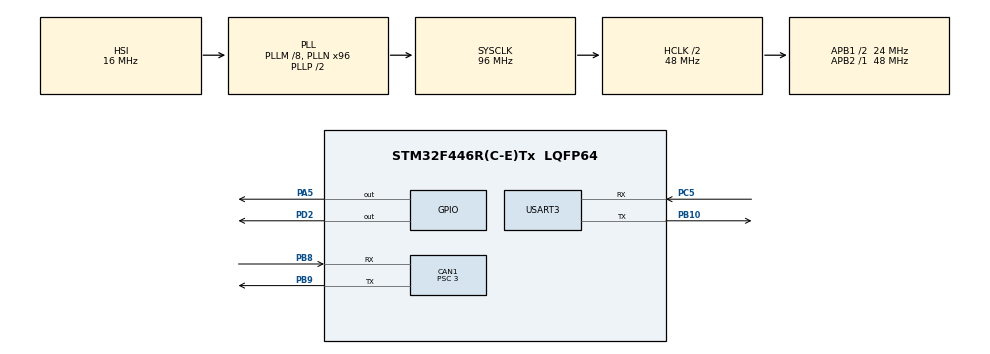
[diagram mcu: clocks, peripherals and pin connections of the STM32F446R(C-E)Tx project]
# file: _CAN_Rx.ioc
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CAN1.ABOM=ENABLE
CAN1.AWUM=ENABLE
CAN1.BS1=CAN_BS1_13TQ
CAN1.BS2=CAN_BS2_2TQ
CAN1.CalculateBaudRate=500000
CAN1.CalculateTimeBit=2000
CAN1.CalculateTimeQuantum=125.0
CAN1.NART=ENABLE
CAN1.Prescaler=3
CAN1.TXFP=ENABLE
Mcu.Family=STM32F4
Mcu.Name=STM32F446R(C-E)Tx
Mcu.Package=LQFP64
NVIC.CAN1_RX0_IRQn=true\:0\:0\:false\:false\:true\:true\:true\:true
NVIC.PriorityGroup=NVIC_PRIORITYGROUP_0
PA2.Signal=USART2_TX
PA3.Signal=USART2_RX
PA5.Signal=GPIO_Output
PB10.Mode=Asynchronous
PB10.Signal=USART3_TX
PB8.Mode=CAN_Activate
PB8.Signal=CAN1_RX
PB9.Mode=CAN_Activate
PB9.Signal=CAN1_TX
PC5.Mode=Asynchronous
PC5.Signal=USART3_RX
PD2.Signal=GPIO_Output
PH0-OSC_IN.Mode=HSE-External-Oscillator
PH0-OSC_IN.Signal=RCC_OSC_IN
PH1-OSC_OUT.Mode=HSE-External-Oscillator
PH1-OSC_OUT.Signal=RCC_OSC_OUT
ProjectManager.HeapSize=0x200
ProjectManager.StackSize=0x400
ProjectManager.TargetToolchain=STM32CubeIDE
RCC.48MHZClocksFreq_Value=84000000
RCC.AHBCLKDivider=RCC_SYSCLK_DIV2
RCC.AHBFreq_Value=48000000
RCC.APB1CLKDivider=RCC_HCLK_DIV2
RCC.APB1Freq_Value=24000000
RCC.APB1TimFreq_Value=48000000
RCC.APB2Freq_Value=48000000
RCC.APB2TimFreq_Value=48000000
RCC.CortexFreq_Value=48000000
RCC.FLatency-AdvancedSettings=FLASH_LATENCY_1
RCC.HCLKFreq_Value=48000000
RCC.HSE_VALUE=8000000
RCC.HSI_VALUE=16000000
RCC.PLLM=8
RCC.PLLN=96
RCC.SYSCLKFreq_VALUE=96000000
RCC.SYSCLKSource=RCC_SYSCLKSOURCE_PLLCLK
RCC.USBFreq_Value=96000000
RCC.VCOOutputFreq_Value=192000000
USART3.VirtualMode=VM_ASYNC
board=NUCLEO-F446RE

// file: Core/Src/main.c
/* USER CODE BEGIN Header */
/**
  ******************************************************************************
  * @file           : main.c
  * @brief          : Main program body (CAN receiver for ultrasonic distance)
  ******************************************************************************
  * @attention
  *
  * Copyright (c) 2025 STMicroelectronics.
  * All rights reserved.
  *
  ******************************************************************************
  */
/* USER CODE END Header */
#include "main.h"

/* USER CODE BEGIN Includes */
#include <stdio.h>
#include <string.h>
#include <stdarg.h>
/* USER CODE END Includes */

CAN_HandleTypeDef hcan1;

UART_HandleTypeDef huart3;

/* USER CODE BEGIN PV */

volatile uint8_t can_frame_received = 0;
CAN_RxHeaderTypeDef rxHeader;
uint8_t rxData[8];
/* USER CODE END PV */

void SystemClock_Config(void);
static void MX_GPIO_Init(void);
static void MX_CAN1_Init(void);
static void MX_USART3_UART_Init(void);
/* USER CODE BEGIN PFP */

static void uart_printf(const char *fmt, ...);
void HAL_CAN_RxFifo0MsgPendingCallback(CAN_HandleTypeDef *hcan)
{
    CAN_RxHeaderTypeDef rxHeader;
    uint8_t rxData[8];

    if (HAL_CAN_GetRxMessage(hcan, CAN_RX_FIFO0, &rxHeader, rxData) == HAL_OK)
    {
        float distance;
        memcpy(&distance, rxData, sizeof(float));

        uart_printf("RX: ID=0x%03lX, distance=%.2f cm\r\n",
                    (unsigned long)rxHeader.StdId, distance);
    }
}
/* USER CODE END PFP */

int main(void)
{

  /* MCU Configuration--------------------------------------------------------*/

  /* Reset of all peripherals, Initializes the Flash interface and the Systick. */
  HAL_Init();

  /* Configure the system clock */
  SystemClock_Config();

  /* Initialize all configured peripherals */
  MX_GPIO_Init();
  MX_CAN1_Init();
  MX_USART3_UART_Init();
  /* USER CODE BEGIN 2 */

  uart_printf("STM32 CAN Receiver ready\r\n");
  if (HAL_CAN_Start(&hcan1) != HAL_OK)
         uart_printf("CAN START ERROR\r\n");
     else
         uart_printf("CAN Started OK\r\n");

    if (HAL_CAN_ActivateNotification(&hcan1, CAN_IT_RX_FIFO0_MSG_PENDING) != HAL_OK)
    {
    	uart_printf("CAN Notification Error\r\n");
    }

    uart_printf("STM32 CAN Receiver ready\r\n");

  /* USER CODE END 2 */

  /* Infinite loop */
  while (1)
  {

    /* USER CODE BEGIN 3 */
	  /* CAN Bus-Off detection */
	  if (__HAL_CAN_GET_FLAG(&hcan1, CAN_FLAG_BOF))
	     {
	         uart_printf("CAN BUS-OFF detected — resetting CAN...\r\n");

	         HAL_CAN_Stop(&hcan1);
	         HAL_CAN_Start(&hcan1);
	         HAL_CAN_ActivateNotification(&hcan1, CAN_IT_RX_FIFO0_MSG_PENDING);
	     }

	     HAL_Delay(1000);
  /* USER CODE END 3 */
}
}
void SystemClock_Config(void)
{
  RCC_OscInitTypeDef RCC_OscInitStruct = {0};
  RCC_ClkInitTypeDef RCC_ClkInitStruct = {0};

  /** Configure the main internal regulator output voltage
  */
  __HAL_RCC_PWR_CLK_ENABLE();
  __HAL_PWR_VOLTAGESCALING_CONFIG(PWR_REGULATOR_VOLTAGE_SCALE3);

  /** Initializes the RCC Oscillators according to the specified parameters
  * in the RCC_OscInitTypeDef structure.
  */
  RCC_OscInitStruct.OscillatorType = RCC_OSCILLATORTYPE_HSI;
  RCC_OscInitStruct.HSIState = RCC_HSI_ON;
  RCC_OscInitStruct.HSICalibrationValue = RCC_HSICALIBRATION_DEFAULT;
  RCC_OscInitStruct.PLL.PLLState = RCC_PLL_ON;
  RCC_OscInitStruct.PLL.PLLSource = RCC_PLLSOURCE_HSI;
  RCC_OscInitStruct.PLL.PLLM = 8;
  RCC_OscInitStruct.PLL.PLLN = 96;
  RCC_OscInitStruct.PLL.PLLP = RCC_PLLP_DIV2;
  RCC_OscInitStruct.PLL.PLLQ = 2;
  RCC_OscInitStruct.PLL.PLLR = 2;
  if (HAL_RCC_OscConfig(&RCC_OscInitStruct) != HAL_OK)
  {
    Error_Handler();
  }

  /** Initializes the CPU, AHB and APB buses clocks
  */
  RCC_ClkInitStruct.ClockType = RCC_CLOCKTYPE_HCLK|RCC_CLOCKTYPE_SYSCLK
                              |RCC_CLOCKTYPE_PCLK1|RCC_CLOCKTYPE_PCLK2;
  RCC_ClkInitStruct.SYSCLKSource = RCC_SYSCLKSOURCE_PLLCLK;
  RCC_ClkInitStruct.AHBCLKDivider = RCC_SYSCLK_DIV2;
  RCC_ClkInitStruct.APB1CLKDivider = RCC_HCLK_DIV2;
  RCC_ClkInitStruct.APB2CLKDivider = RCC_HCLK_DIV1;

  if (HAL_RCC_ClockConfig(&RCC_ClkInitStruct, FLASH_LATENCY_1) != HAL_OK)
  {
    Error_Handler();
  }
}

static void MX_CAN1_Init(void)
{

  hcan1.Instance = CAN1;
  hcan1.Init.Prescaler = 3;
  hcan1.Init.Mode = CAN_MODE_NORMAL;
  hcan1.Init.SyncJumpWidth = CAN_SJW_1TQ;
  hcan1.Init.TimeSeg1 = CAN_BS1_11TQ;
  hcan1.Init.TimeSeg2 = CAN_BS2_2TQ;
  hcan1.Init.TimeTriggeredMode = DISABLE;
  hcan1.Init.AutoBusOff = ENABLE;
  hcan1.Init.AutoWakeUp = ENABLE;
  hcan1.Init.AutoRetransmission = ENABLE;
  hcan1.Init.ReceiveFifoLocked = DISABLE;
  hcan1.Init.TransmitFifoPriority = ENABLE;
  if (HAL_CAN_Init(&hcan1) != HAL_OK)
  {
    Error_Handler();
  }
  /* USER CODE BEGIN CAN1_Init 2 */
  CAN_FilterTypeDef filter = {0};
  filter.FilterIdHigh = (0x123 << 5);
  filter.FilterMaskIdHigh = 0;
  filter.FilterBank = 0;
  filter.FilterMode = CAN_FILTERMODE_IDMASK;
  filter.FilterScale = CAN_FILTERSCALE_32BIT;
  filter.FilterFIFOAssignment = CAN_FILTER_FIFO0;
  filter.FilterActivation = ENABLE;

  HAL_CAN_ConfigFilter(&hcan1, &filter);

  if (HAL_CAN_ConfigFilter(&hcan1, &filter) != HAL_OK)
  {
    Error_Handler();
  }

  /* Start CAN peripheral */
  if (HAL_CAN_Start(&hcan1) != HAL_OK)
  {
    Error_Handler();
  }
  uart_printf("CAN Started OK\r\n");

  if (HAL_CAN_ActivateNotification(&hcan1, CAN_IT_RX_FIFO0_MSG_PENDING) != HAL_OK)
  {
    Error_Handler();
  }

  HAL_NVIC_SetPriority(CAN1_RX0_IRQn, 0, 0);
  HAL_NVIC_EnableIRQ(CAN1_RX0_IRQn);
  /* USER CODE END CAN1_Init 2 */

}

static void MX_USART3_UART_Init(void)
{

  huart3.Instance = USART3;
  huart3.Init.BaudRate = 115200;
  huart3.Init.WordLength = UART_WORDLENGTH_8B;
  huart3.Init.StopBits = UART_STOPBITS_1;
  huart3.Init.Parity = UART_PARITY_NONE;
  huart3.Init.Mode = UART_MODE_TX_RX;
  huart3.Init.HwFlowCtl = UART_HWCONTROL_NONE;
  huart3.Init.OverSampling = UART_OVERSAMPLING_16;
  if (HAL_UART_Init(&huart3) != HAL_OK)
  {
    Error_Handler();
  }

}

static void MX_GPIO_Init(void)
{
  GPIO_InitTypeDef GPIO_InitStruct = {0};

  /* GPIO Ports Clock Enable */
  __HAL_RCC_GPIOH_CLK_ENABLE();
  __HAL_RCC_GPIOA_CLK_ENABLE();
  __HAL_RCC_GPIOC_CLK_ENABLE();
  __HAL_RCC_GPIOB_CLK_ENABLE();
  __HAL_RCC_GPIOD_CLK_ENABLE();

  /*Configure GPIO pin Output Level */
  HAL_GPIO_WritePin(GPIOA, GPIO_PIN_5, GPIO_PIN_RESET);

  /*Configure GPIO pin Output Level */
  HAL_GPIO_WritePin(GPIOD, GPIO_PIN_2, GPIO_PIN_RESET);

  /*Configure GPIO pins : PA2 PA3 */
  GPIO_InitStruct.Pin = GPIO_PIN_2|GPIO_PIN_3;
  GPIO_InitStruct.Mode = GPIO_MODE_AF_PP;
  GPIO_InitStruct.Pull = GPIO_NOPULL;
  GPIO_InitStruct.Speed = GPIO_SPEED_FREQ_VERY_HIGH;
  GPIO_InitStruct.Alternate = GPIO_AF7_USART2;
  HAL_GPIO_Init(GPIOA, &GPIO_InitStruct);

  /*Configure GPIO pin : PA5 */
  GPIO_InitStruct.Pin = GPIO_PIN_5;
  GPIO_InitStruct.Mode = GPIO_MODE_OUTPUT_PP;
  GPIO_InitStruct.Pull = GPIO_NOPULL;
  GPIO_InitStruct.Speed = GPIO_SPEED_FREQ_LOW;
  HAL_GPIO_Init(GPIOA, &GPIO_InitStruct);

  /*Configure GPIO pin : PD2 */
  GPIO_InitStruct.Pin = GPIO_PIN_2;
  GPIO_InitStruct.Mode = GPIO_MODE_OUTPUT_PP;
  GPIO_InitStruct.Pull = GPIO_NOPULL;
  GPIO_InitStruct.Speed = GPIO_SPEED_FREQ_LOW;
  HAL_GPIO_Init(GPIOD, &GPIO_InitStruct);

  /* USER CODE BEGIN MX_GPIO_Init_2 */

  /* Configure CAN1 RX (PB8) and TX (PB9) */
  GPIO_InitStruct.Pin = GPIO_PIN_8 | GPIO_PIN_9;
  GPIO_InitStruct.Mode = GPIO_MODE_AF_PP;
  GPIO_InitStruct.Pull = GPIO_NOPULL;
  GPIO_InitStruct.Speed = GPIO_SPEED_FREQ_VERY_HIGH;
  GPIO_InitStruct.Alternate = GPIO_AF9_CAN1;
  HAL_GPIO_Init(GPIOB, &GPIO_InitStruct);

  /* USER CODE END MX_GPIO_Init_2 */
}

/* USER CODE BEGIN 4 */

//void HAL_CAN_RxFifo0MsgPendingCallback(CAN_HandleTypeDef *hcan)
//{
//    CAN_RxHeaderTypeDef rxHeader;
//    uint8_t rxData[8];
//
//    if (HAL_CAN_GetRxMessage(hcan, CAN_RX_FIFO0, &rxHeader, rxData) == HAL_OK)
//    {
//        float distance;
//        memcpy(&distance, rxData, sizeof(float));
//
//        uart_printf("CAN RX - ID: 0x%03X, Distance: %.2f cm\r\n",
//                    rxHeader.StdId, distance);
//    }
//
//}

static void uart_printf(const char *fmt, ...)
{
  char buf[128];
  va_list args;
  va_start(args, fmt);
  vsnprintf(buf, sizeof(buf), fmt, args);
  va_end(args);
  HAL_UART_Transmit(&huart3, (uint8_t *)buf, strlen(buf), HAL_MAX_DELAY);
}

/* USER CODE END 4 */

void Error_Handler(void)
{
  /* USER CODE BEGIN Error_Handler_Debug */
  __disable_irq();
  while (1)
  {
    /* optionally toggle PD2 here to indicate error */
  }
  /* USER CODE END Error_Handler_Debug */
}
